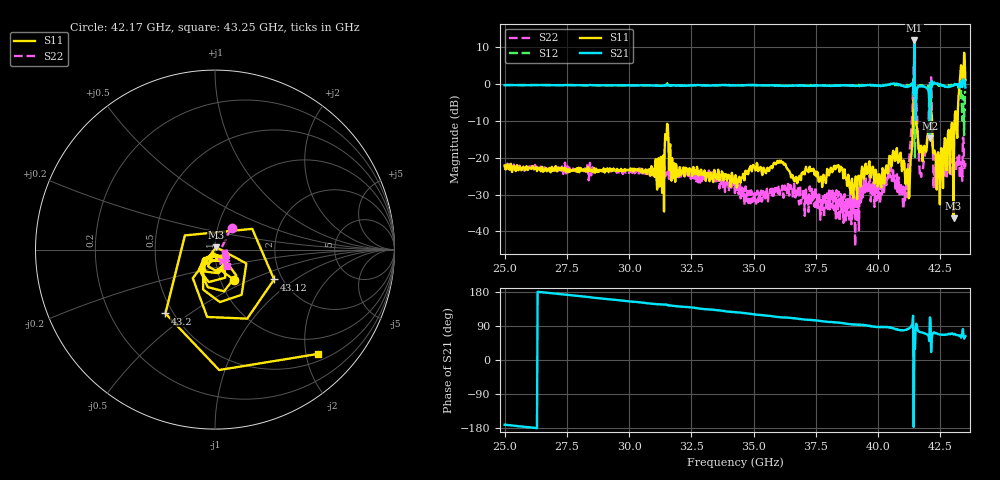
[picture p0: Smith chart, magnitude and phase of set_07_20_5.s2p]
!Keysight Technologies,N5224A,MY55441802,A.10.65.16
!Date: Tuesday, March 03, 2026 17:03:07
!Correction: S11(Full 2 Port(1,2))
!S21(Full 2 Port(1,2))
!S12(Full 2 Port(1,2))
!S22(Full 2 Port(1,2))
!S2P File: Measurements: S11, S21, S12, S22:
# Hz S  dB  R 50
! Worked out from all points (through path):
!   741 points, 25 GHz to 43.5 GHz, reference 50 ohm
!   highest |S21| = 11.72 dB at 41.45 GHz (marker M1); lowest = -14.8 dB at 42.08 GHz (marker M2)
!   lowest |S11| = -36.4 dB at 43.02 GHz (marker M3), VSWR 1.03, Z = 50.6 + j1.39 ohm
!   |S11| at or under -10 dB: start of sweep to 41.4 GHz; 41.52 GHz to 42.05 GHz (520.8 MHz wide, 1.25 % of centre); 42.16 GHz to 43.07 GHz (912.1 MHz wide, 2.14 % of centre)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
!   |S22| runs from -44.0 to 5.9 dB; largest |S21 - S12| = 3.7
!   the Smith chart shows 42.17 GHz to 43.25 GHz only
!   S11 on the Smith chart (normalised r, x): 42.17 GHz: 1.16, -0.41; 43.12 GHz: 1.81, -0.70; 43.2 GHz: 0.45, -0.41; 43.25 GHz: 0.64, -2.25
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2.5e10  -22.13 -91.4  -0.38 -170.8  -0.38 -170.7  -22.02 -89.4
2.81e10  -23.56 -100.8  -0.40 167.6  -0.38 167.7  -23.63 -104.5
3.1175e10  -20.15 -103.0  -0.56 146.9  -0.46 147.1  -22.41 -115.4
3.15e10  -15.09 92.9  -0.48 146.7  -0.07 146.4  -24.30 -107.7
3.1775e10  -25.56 -113.9  -0.45 143.0  -0.42 143.0  -25.00 -123.8
3.425e10  -26.10 -110.0  -0.41 125.8  -0.35 125.9  -29.62 -135.1
3.735e10  -23.51 -81.4  -0.53 105.4  -0.46 104.9  -31.63 -92.3
3.9e10  -30.95 -107.3  -0.58 93.8  -0.38 94.0  -35.38 -111.7
4.0425e10  -21.17 -110.5  -0.22 86.9  -0.21 84.1  -23.11 -37.3
4.1075e10  -24.87 -61.8  -0.77 79.0  -0.40 79.9  -31.61 -57.9
4.1275e10  -24.65 -67.5  -0.62 84.9  -0.29 81.3  -17.42 -57.9
4.145e10  -5.87 94.5  11.72 64.1  -14.98 33.5  5.94 -101.5
4.1725e10  -16.76 -74.9  -0.70 73.3  -0.47 74.2  -25.22 -13.2
4.2075e10  -6.17 -140.1  -14.81 112.6  -8.86 43.6  0.47 -66.9
4.2175e10  -14.02 -57.8  0.15 68.6  -0.08 64.4  -16.38 51.4
4.24e10  -18.58 -87.8  -0.02 68.2  -0.39 70.0  -23.35 -32.8
4.3025e10  -36.38 64.7  -0.50 67.1  -0.33 66.7  -21.52 -37.8
4.3125e10  -8.66 -26.8  -0.20 66.0  -0.45 57.0  -23.51 -29.6
4.32e10  -6.93 -127.8  -0.13 65.6  -0.25 60.2  -22.72 -46.6
4.325e10  -1.75 -45.2  -1.01 64.0  -1.86 41.9  -19.00 -54.2
4.34e10  -0.18 -81.0  0.54 81.5  -3.20 95.1  -14.57 31.9
4.35e10  0.94 -58.3  -1.03 62.8  -2.66 49.6  -21.48 -43.6
